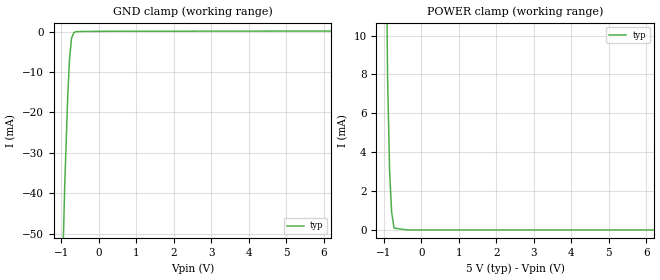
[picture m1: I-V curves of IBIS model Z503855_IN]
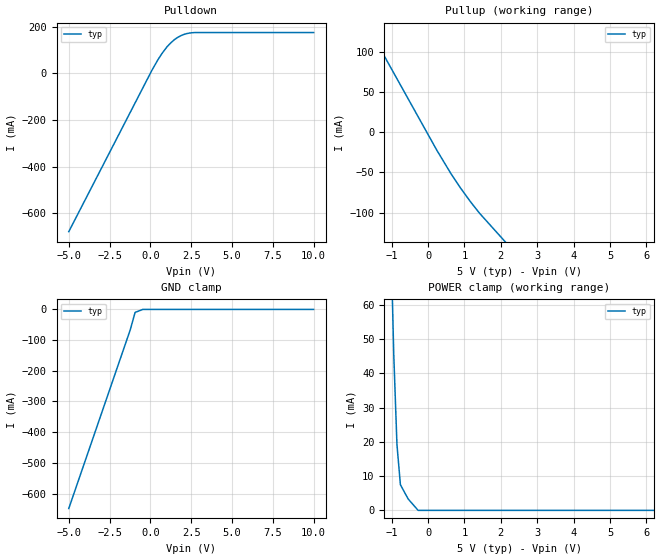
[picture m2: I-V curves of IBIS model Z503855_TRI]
| YOU ARE ONLY AUTHORIZED TO USE THIS SOFTWARE
| ACCORDING TO LICENSOR'S LICENSE RESTRICTIONS.
[IBIS Ver] 3.1
[File Name] mc74act350n.ibs
[File Rev] 2.0
[Source] Measured and created by ICX Technology
[Date] Friday 7/14/00 9:08:01 AM
[Copyright]
| (C) COPYRIGHT 1993-2000
| MENTOR GRAPHICS CORPORATION
| ICX STANDARD LIBRARY, ICX PROJECT MODELING,
| ICX CUSTOM MODELING, ICX VENDOR MODEL
| ALL RIGHTS RESERVED.
| THE FOLLOWING ARE TRADEMARKS OR SERVICE MARKS OF
| MENTOR GRAPHICS CORPORATION:ICX (R), ICX STANDARD
| LIBRARY(R), ICX PROJECT MODELING(R), ICX CUSTOM
| MODELING(R), qualityIBIS(TM), MODELVIEWER(TM),
| AND MODELEDITOR(TM)
| ALL COPIES OF SOFTWARE, INCLUDING BUT NOT LIMITED TO
| ANY MODIFICATIONS, ENHANCEMENTS OR DERIVATIVE WORKS,
| MUST CONTAIN ALL MENTOR GRAPHICS CORPORATION'S
| NOTICES AND LEGENDS, INCLUDING THOSE EMBEDDED IN
| SOFTWARE AND THOSE AFFIXED TO SOFTWARE MEDIUM
| AND CONTAINER, AS RECEIVED FROM MENTOR GRAPHICS
| CORPORATION.
|  ZAP Model Builder 2.7
[Component] MC74ACT350N
[Manufacturer] OnSemiconductor
[Package]
| variable   typ   min   max
R_pkg  .212ohms NA NA
L_pkg  4.758nH NA NA
C_pkg  1.143pF NA NA
[Pin] signal_name  model_name  R_pin  L_pin C_pin
1 D_3 Z503855_IN .224 7.258n 1.578p
2 D_2 Z503855_IN .216 5.258n 1.288p
3 D_1 Z503855_IN .208 3.758n .998p
4 D0 Z503855_IN .2 2.758n .708p
5 D1 Z503855_IN .2 2.758n .708p
6 D2 Z503855_IN .208 3.758n .998p
7 D3 Z503855_IN .216 5.258n 1.288p
8 GND GND .224 7.258n 1.578p
9 S1 Z503855_IN .224 7.258n 1.578p
10 S0 Z503855_IN .216 5.258n 1.288p
11 Y3 Z503855_TRI .208 3.758n .998p
12 Y2 Z503855_TRI .2 2.758n .708p
13 _OE Z503855_IN .2 2.758n .708p
14 Y1 Z503855_TRI .208 3.758n .998p
15 Y0 Z503855_TRI .216 5.258n 1.288p
16 VCC POWER .224 7.258n 1.578p
| Models and submodels in the file (2): Z503855_IN (Input), Z503855_TRI (3-state)
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| (C) COPYRIGHT 1993-2000
| MENTOR GRAPHICS CORPORATION
| ICX STANDARD LIBRARY, ICX PROJECT MODELING,
| ICX CUSTOM MODELING, ICX VENDOR MODEL
| ALL RIGHTS RESERVED.
| THE FOLLOWING ARE TRADEMARKS OR SERVICE MARKS OF
| MENTOR GRAPHICS CORPORATION:ICX (R), ICX STANDARD
| LIBRARY(R), ICX PROJECT MODELING(R), ICX CUSTOM
| MODELING(R), qualityIBIS(TM), MODELVIEWER(TM),
| AND MODELEDITOR(TM)
| ALL COPIES OF SOFTWARE, INCLUDING BUT NOT LIMITED TO
| ANY MODIFICATIONS, ENHANCEMENTS OR DERIVATIVE WORKS,
| MUST CONTAIN ALL MENTOR GRAPHICS CORPORATION'S
| NOTICES AND LEGENDS, INCLUDING THOSE EMBEDDED IN
| SOFTWARE AND THOSE AFFIXED TO SOFTWARE MEDIUM
| AND CONTAINER, AS RECEIVED FROM MENTOR GRAPHICS
| CORPORATION.
| Model Application Version 1.89 2/18/99.
[Model] Z503855_IN
Model_type Input
Vinl = 800.0mV
Vinh = 2.000V
C_comp 4.000pF NA NA
| variable typ   min   max
[Voltage Range] 5.000V NA NA
[GND Clamp Reference] 0.000V NA NA
[POWER Clamp Reference] 5.000V NA NA
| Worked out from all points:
|   GND clamp passes 1 mA (typ) near -0.70 V on its own axis
|   POWER clamp passes 1 mA (typ) near -0.79 V on its own axis
[GND Clamp]
-5V       -2.641A    NA         NA
-1.006V   -73.24mA   NA         NA
-908.1mV  -37.78mA   NA         NA
-830mV    -16.18mA   NA         NA
-781.2mV  -6.724mA   NA         NA
-727.7mV  -1.625mA   NA         NA
-664.3mV  -232.8uA   NA         NA
-625.2mV  11.38uA    NA         NA
10V       167.4uA    NA         NA
[POWER Clamp]
-5V       1.746A     NA         NA
-1.133V   73.49mA    NA         NA
-1.001V   28.7mA     NA         NA
-900mV    7.871mA    NA         NA
-845mV    2.976mA    NA         NA
-791mV    916.6uA    NA         NA
-728mV    94.2uA     NA         NA
-364mV    0A         NA         NA
10V       0A         NA         NA
| (C) COPYRIGHT 1993-2000
| MENTOR GRAPHICS CORPORATION
| ICX STANDARD LIBRARY, ICX PROJECT MODELING,
| ICX CUSTOM MODELING, ICX VENDOR MODEL
| ALL RIGHTS RESERVED.
| THE FOLLOWING ARE TRADEMARKS OR SERVICE MARKS OF
| MENTOR GRAPHICS CORPORATION:ICX (R), ICX STANDARD
| LIBRARY(R), ICX PROJECT MODELING(R), ICX CUSTOM
| MODELING(R), qualityIBIS(TM), MODELVIEWER(TM),
| AND MODELEDITOR(TM)
| ALL COPIES OF SOFTWARE, INCLUDING BUT NOT LIMITED TO
| ANY MODIFICATIONS, ENHANCEMENTS OR DERIVATIVE WORKS,
| MUST CONTAIN ALL MENTOR GRAPHICS CORPORATION'S
| NOTICES AND LEGENDS, INCLUDING THOSE EMBEDDED IN
| SOFTWARE AND THOSE AFFIXED TO SOFTWARE MEDIUM
| AND CONTAINER, AS RECEIVED FROM MENTOR GRAPHICS
| CORPORATION.
| Model Application Version 1.89 2/18/99.
[Model] Z503855_TRI
Model_type 3-state
Vref=0.000V
Rref=500.0ohms
Cref=50.00pF
Vmeas=1.500V
C_comp 8.000pF NA NA
| variable typ   min   max
[Voltage Range] 5.000V NA NA
[POWER Clamp Reference] 5.000V NA NA
[Pullup Reference] 5.000V NA NA
[Pulldown Reference] 0.000V NA NA
[GND Clamp Reference] 0.000V NA NA
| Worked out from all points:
|   slope of the pulldown table from 0 to 0.75 V, typ, clamps not added: 8.47 ohm
|   slope of the pullup table from 0 to 0.75 V, typ, clamps not added: 13.2 ohm
[GND Clamp]
-5V       -648.7mA   NA         NA
-1.233V   -66.27mA   NA         NA
-937.5mV  -9.753mA   NA         NA
-468.8mV  0A         NA         NA
10V       0A         NA         NA
[Pulldown]
-5V       -678.2mA   NA         NA
92.89mV   12.61mA    NA         NA
732.5mV   86.91mA    NA         NA
1.021V    113.4mA    NA         NA
1.489V    144.7mA    NA         NA
2.022V    165.3mA    NA         NA
2.695V    174.1mA    NA         NA
10V       174.2mA    NA         NA
[Pullup]
-5V       402.8mA    NA         NA
239mV     -22.39mA   NA         NA
626mV     -51.45mA   NA         NA
889mV     -69.32mA   NA         NA
1.168V    -86.74mA   NA         NA
1.411V    -100.7mA   NA         NA
10V       -533mA     NA         NA
[POWER Clamp]
-5V       2.212A     NA         NA
-1.033V   84.55mA    NA         NA
-942mV    45.54mA    NA         NA
-855mV    19.37mA    NA         NA
-760mV    7.497mA    NA         NA
-546mV    3.316mA    NA         NA
-273mV    0A         NA         NA
10V       0A         NA         NA
[Ramp]
| variable typ min max
dV/dt_r 2.949/365.7p NA NA
dV/dt_f 2.949/517.8p NA NA
R_load = 500.0Ohms
